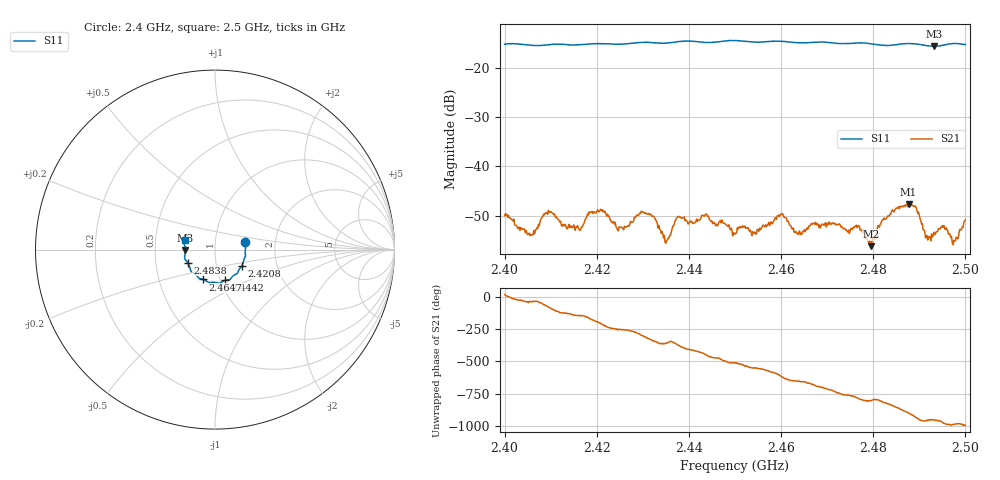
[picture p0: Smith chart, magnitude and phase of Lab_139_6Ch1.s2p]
# Hz S RI R 50
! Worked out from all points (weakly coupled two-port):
!   601 points, 2.4 GHz to 2.5 GHz, reference 50 ohm
!   highest |S21| = -47.65 dB at 2.4877 GHz (marker M1); lowest = -56.2 dB at 2.4795 GHz (marker M2)
!   lowest |S11| = -15.6 dB at 2.4932 GHz (marker M3), VSWR 1.40, Z = 35.8 - j0.139 ohm
!   |S11| at or under -10 dB: start of sweep to end of sweep
!   S12 and S22 are empty: the file has one direction only
!   S11 on the Smith chart (normalised r, x): 2.4 GHz: 1.40, +0.12; 2.4208 GHz: 1.33, -0.24; 2.4442 GHz: 1.05, -0.37; 2.4647 GHz: 0.83, -0.29; 2.4838 GHz: 0.73, -0.11; 2.5 GHz: 0.71, +0.08
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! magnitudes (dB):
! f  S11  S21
! 2.4 GHz  -15.2  -50.0
! 2.4055 GHz  -15.4  -54.0
! 2.4095 GHz  -15.3  -48.9
! 2.4167 GHz  -15.3  -52.3
! 2.4208 GHz  -15.1  -48.7
! 2.4247 GHz  -15.2  -53.1
! 2.43 GHz  -14.8  -49.2
! 2.4333 GHz  -15.0  -52.5
! 2.4353 GHz  -15.0  -54.9
! 2.4377 GHz  -14.7  -50.1
! 2.4442 GHz  -14.9  -50.0
! 2.45 GHz  -14.5  -53.7
! 2.46 GHz  -14.6  -49.6
! 2.4647 GHz  -14.9  -53.2
! 2.4667 GHz  -14.8  -51.6
! 2.4795 GHz  -15.1  -56.2
! 2.4833 GHz  -15.5  -50.1
! 2.4838 GHz  -15.4  -49.6
! 2.4877 GHz  -15.1  -47.7
! 2.4932 GHz  -15.6  -53.4
! 2.4977 GHz  -15.1  -55.1
! 2.5 GHz  -15.3  -50.8
